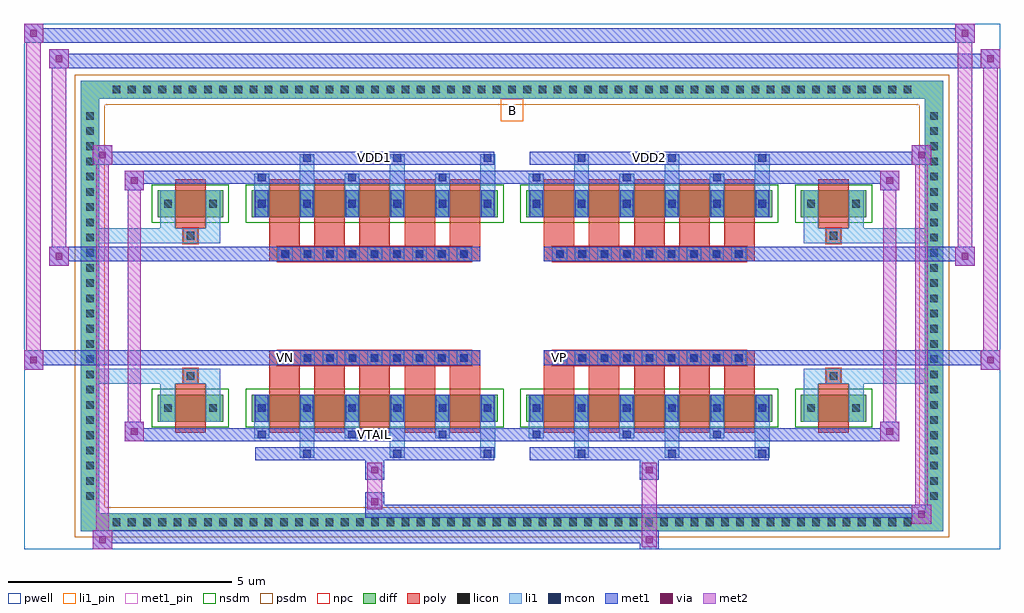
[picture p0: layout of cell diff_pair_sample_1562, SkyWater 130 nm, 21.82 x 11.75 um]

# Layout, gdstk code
import gdstk
lib = gdstk.Library(unit=1e-6, precision=5e-09)
def R(c, l, rs):  # rectangles x0, y0, x1, y1
    for r in rs: c.add(gdstk.rectangle(r[:2], r[2:], *l))
def A(c, l, x, y, w, h, nx, ny, dx, dy):  # array of equal rectangles
    R(c, l, [(x+i*dx, y+j*dy, x+i*dx+w, y+j*dy+h) for i in range(nx) for j in range(ny)])
def P(c, l, *ps):  # polygons
    for p in ps: c.add(gdstk.Polygon(p, *l))
pwell = (64, 44)
diff = (65, 20)
poly = (66, 20)
licon = (66, 44)
li1_pin = (67, 16)
li1 = (67, 20)
mcon = (67, 44)
met1_pin = (68, 16)
met1 = (68, 20)
via = (68, 44)
met2 = (69, 20)
nsdm = (93, 44)
psdm = (94, 20)
npc = (95, 20)

diff_pair_sample_1562 = lib.new_cell('diff_pair_sample_1562')
R(diff_pair_sample_1562, pwell, [(-10.91,-5.44,10.91,6.31), (-8.23,-3.63,-0.01,-0.795), (0.01,-3.63,8.23,-0.795), (-8.23,0.795,-0.01,3.63), (0.01,0.795,8.23,3.63)])
A(diff_pair_sample_1562, diff, -9.045, -5.04, 0.41, 0.41, 53, 2, 0.34, 9.67)
A(diff_pair_sample_1562, diff, -9.64, -4.455, 0.41, 0.41, 1, 26, 0, 0.34)
A(diff_pair_sample_1562, diff, 9.23, -4.455, 0.41, 0.41, 1, 26, 0, 0.34)
R(diff_pair_sample_1562, diff, [(-9.045,-5.04,9.045,-4.63), (-9.64,-4.455,-9.23,4.455), (9.23,-4.455,9.64,4.455), (-7.92,-2.585,-6.46,-1.985), (-5.82,-2.585,-0.32,-1.985), (0.32,-2.585,5.82,-1.985), (6.46,-2.585,7.92,-1.985), (-7.92,1.985,-6.46,2.585), (-5.82,1.985,-0.32,2.585), (0.32,1.985,5.82,2.585), (6.46,1.985,7.92,2.585), (-9.045,4.63,9.045,5.04)])
P(diff_pair_sample_1562, diff, [(9.64,5.04),(-9.64,5.04),(-9.64,-4.63),(-9.23,-4.63),(-9.23,4.63),(9.23,4.63),(9.23,-4.63),(-9.23,-4.63),(-9.64,-4.63),(-9.64,-5.04),(9.64,-5.04)])
A(diff_pair_sample_1562, poly, -5.43, -2.835, 0.68, 1.1, 5, 2, 1.01, 4.57)
A(diff_pair_sample_1562, poly, 0.71, -2.835, 0.68, 1.1, 5, 2, 1.01, 4.57)
A(diff_pair_sample_1562, poly, -5.43, -1.735, 0.68, 0.41, 5, 2, 1.01, 3.06)
A(diff_pair_sample_1562, poly, 0.71, -1.735, 0.68, 0.41, 5, 2, 1.01, 3.06)
A(diff_pair_sample_1562, poly, -5.235, -1.325, 0.33, 0.33, 9, 2, 0.5, 2.32)
A(diff_pair_sample_1562, poly, 0.905, -1.325, 0.33, 0.33, 9, 2, 0.5, 2.32)
R(diff_pair_sample_1562, poly, [(-7.53,-2.835,-6.85,-1.735), (6.85,-2.835,7.53,-1.735), (-7.355,-1.735,-7.025,-1.405), (-7.355,-1.735,-7.025,-1.405), (7.025,-1.735,7.355,-1.405), (7.025,-1.735,7.355,-1.405), (-5.43,-1.325,-0.71,-0.995), (0.71,-1.325,5.43,-0.995), (-5.43,0.995,-0.71,1.325), (0.71,0.995,5.43,1.325), (-7.355,1.405,-7.025,1.735), (-7.355,1.405,-7.025,1.735), (7.025,1.405,7.355,1.735), (7.025,1.405,7.355,1.735), (-7.53,1.735,-6.85,2.835), (6.85,1.735,7.53,2.835)])
A(diff_pair_sample_1562, licon, -8.925, -4.92, 0.17, 0.17, 53, 2, 0.34, 9.67)
A(diff_pair_sample_1562, licon, -9.52, -4.335, 0.17, 0.17, 1, 26, 0, 0.34)
A(diff_pair_sample_1562, licon, 9.35, -4.335, 0.17, 0.17, 1, 26, 0, 0.34)
A(diff_pair_sample_1562, licon, -5.68, -2.37, 0.17, 0.17, 6, 2, 1.01, 4.57)
A(diff_pair_sample_1562, licon, 0.46, -2.37, 0.17, 0.17, 6, 2, 1.01, 4.57)
A(diff_pair_sample_1562, licon, -5.155, -1.245, 0.17, 0.17, 9, 2, 0.5, 2.32)
A(diff_pair_sample_1562, licon, 0.985, -1.245, 0.17, 0.17, 9, 2, 0.5, 2.32)
R(diff_pair_sample_1562, licon, [(-7.78,-2.37,-7.61,-2.2), (-6.77,-2.37,-6.6,-2.2), (6.6,-2.37,6.77,-2.2), (7.61,-2.37,7.78,-2.2), (-7.275,-1.655,-7.105,-1.485), (7.105,-1.655,7.275,-1.485), (-7.275,1.485,-7.105,1.655), (7.105,1.485,7.275,1.655), (-7.78,2.2,-7.61,2.37), (-6.77,2.2,-6.6,2.37), (6.6,2.2,6.77,2.37), (7.61,2.2,7.78,2.37)])
R(diff_pair_sample_1562, li1_pin, [(-0.25,4.13,0.25,4.63)])
A(diff_pair_sample_1562, li1, -9.005, -5, 0.33, 0.33, 53, 2, 0.34, 9.67)
A(diff_pair_sample_1562, li1, -9.6, -4.415, 0.33, 0.33, 1, 26, 0, 0.34)
A(diff_pair_sample_1562, li1, 9.27, -4.415, 0.33, 0.33, 1, 26, 0, 0.34)
A(diff_pair_sample_1562, li1, -4.75, -3.39, 0.33, 0.805, 3, 2, 2.02, 5.975)
A(diff_pair_sample_1562, li1, -4.67, -3.39, 0.17, 0.17, 3, 2, 2.02, 6.61)
A(diff_pair_sample_1562, li1, 1.39, -3.39, 0.33, 0.805, 3, 2, 2.02, 5.975)
A(diff_pair_sample_1562, li1, 1.47, -3.39, 0.17, 0.17, 3, 2, 2.02, 6.61)
A(diff_pair_sample_1562, li1, -5.76, -2.96, 0.33, 0.375, 3, 2, 2.02, 5.545)
A(diff_pair_sample_1562, li1, -5.68, -2.96, 0.17, 0.17, 3, 2, 2.02, 5.75)
A(diff_pair_sample_1562, li1, 0.38, -2.96, 0.33, 0.375, 3, 2, 2.02, 5.545)
A(diff_pair_sample_1562, li1, 0.46, -2.96, 0.17, 0.17, 3, 2, 2.02, 5.75)
A(diff_pair_sample_1562, li1, -5.76, -2.585, 0.33, 0.6, 6, 2, 1.01, 4.57)
A(diff_pair_sample_1562, li1, 0.38, -2.585, 0.33, 0.6, 6, 2, 1.01, 4.57)
A(diff_pair_sample_1562, li1, -5.76, -2.45, 0.33, 0.33, 6, 2, 1.01, 4.57)
A(diff_pair_sample_1562, li1, 0.38, -2.45, 0.33, 0.33, 6, 2, 1.01, 4.57)
A(diff_pair_sample_1562, li1, -5.235, -1.325, 0.33, 0.33, 9, 2, 0.5, 2.32)
A(diff_pair_sample_1562, li1, 0.905, -1.325, 0.33, 0.33, 9, 2, 0.5, 2.32)
R(diff_pair_sample_1562, li1, [(-9.64,-5.04,-9.23,-4.63), (-9.64,-5.04,-9.23,-4.63), (-9.23,-5.04,9.23,-4.63), (9.23,-5.04,9.64,-4.63), (9.23,-5.04,9.64,-4.63), (-9.64,-4.63,-9.23,4.63), (9.23,-4.63,9.64,4.63), (-7.86,-2.585,-7.53,-1.985), (-6.85,-2.585,-6.52,-1.985), (6.52,-2.585,6.85,-1.985), (7.53,-2.585,7.86,-1.985), (-7.86,-2.45,-7.53,-2.12), (-6.85,-2.45,-6.52,-2.12), (6.52,-2.45,6.85,-2.12), (7.53,-2.45,7.86,-2.12), (-5.68,-2.37,-5.51,-2.2), (-5.68,-2.37,-5.51,-2.2), (-4.67,-2.37,-4.5,-2.2), (-4.67,-2.37,-4.5,-2.2), (-3.66,-2.37,-3.49,-2.2), (-3.66,-2.37,-3.49,-2.2), (-2.65,-2.37,-2.48,-2.2), (-2.65,-2.37,-2.48,-2.2), (-1.64,-2.37,-1.47,-2.2), (-1.64,-2.37,-1.47,-2.2), (-0.63,-2.37,-0.46,-2.2), (-0.63,-2.37,-0.46,-2.2), (0.46,-2.37,0.63,-2.2), (0.46,-2.37,0.63,-2.2), (1.47,-2.37,1.64,-2.2), (1.47,-2.37,1.64,-2.2), (2.48,-2.37,2.65,-2.2), (2.48,-2.37,2.65,-2.2), (3.49,-2.37,3.66,-2.2), (3.49,-2.37,3.66,-2.2), (4.5,-2.37,4.67,-2.2), (4.5,-2.37,4.67,-2.2), (5.51,-2.37,5.68,-2.2), (5.51,-2.37,5.68,-2.2), (-7.86,-1.985,-7.53,-1.405), (-6.85,-1.985,-6.52,-1.405), (6.52,-1.985,6.85,-1.405), (7.53,-1.985,7.86,-1.405), (-9.64,-1.735,-7.355,-1.405), (-7.86,-1.735,-7.355,-1.405), (-7.355,-1.735,-7.025,-1.405), (-7.025,-1.735,-6.52,-1.405), (6.52,-1.735,7.025,-1.405), (7.025,-1.735,7.355,-1.405), (7.025,-1.735,9.64,-1.405), (7.355,-1.735,7.86,-1.405), (-9.64,1.405,-7.355,1.735), (-7.86,1.405,-7.355,1.735), (-7.86,1.405,-7.53,1.985), (-7.355,1.405,-7.025,1.735), (-7.025,1.405,-6.52,1.735), (-6.85,1.405,-6.52,1.985), (6.52,1.405,7.025,1.735), (6.52,1.405,6.85,1.985), (7.025,1.405,7.355,1.735), (7.025,1.405,9.64,1.735), (7.355,1.405,7.86,1.735), (7.53,1.405,7.86,1.985), (-7.86,1.985,-7.53,2.585), (-6.85,1.985,-6.52,2.585), (6.52,1.985,6.85,2.585), (7.53,1.985,7.86,2.585), (-7.86,2.12,-7.53,2.45), (-6.85,2.12,-6.52,2.45), (6.52,2.12,6.85,2.45), (7.53,2.12,7.86,2.45), (-5.68,2.2,-5.51,2.37), (-5.68,2.2,-5.51,2.37), (-4.67,2.2,-4.5,2.37), (-4.67,2.2,-4.5,2.37), (-3.66,2.2,-3.49,2.37), (-3.66,2.2,-3.49,2.37), (-2.65,2.2,-2.48,2.37), (-2.65,2.2,-2.48,2.37), (-1.64,2.2,-1.47,2.37), (-1.64,2.2,-1.47,2.37), (-0.63,2.2,-0.46,2.37), (-0.63,2.2,-0.46,2.37), (0.46,2.2,0.63,2.37), (0.46,2.2,0.63,2.37), (1.47,2.2,1.64,2.37), (1.47,2.2,1.64,2.37), (2.48,2.2,2.65,2.37), (2.48,2.2,2.65,2.37), (3.49,2.2,3.66,2.37), (3.49,2.2,3.66,2.37), (4.5,2.2,4.67,2.37), (4.5,2.2,4.67,2.37), (5.51,2.2,5.68,2.37), (5.51,2.2,5.68,2.37), (-9.64,4.63,-9.23,5.04), (-9.64,4.63,-9.23,5.04), (-9.23,4.63,9.23,5.04), (9.23,4.63,9.64,5.04), (9.23,4.63,9.64,5.04)])
A(diff_pair_sample_1562, mcon, -4.67, -3.39, 0.17, 0.17, 3, 2, 2.02, 6.61)
A(diff_pair_sample_1562, mcon, 1.47, -3.39, 0.17, 0.17, 3, 2, 2.02, 6.61)
A(diff_pair_sample_1562, mcon, -5.68, -2.96, 0.17, 0.17, 3, 2, 2.02, 5.75)
A(diff_pair_sample_1562, mcon, 0.46, -2.96, 0.17, 0.17, 3, 2, 2.02, 5.75)
A(diff_pair_sample_1562, mcon, -5.68, -2.37, 0.17, 0.17, 6, 2, 1.01, 4.57)
A(diff_pair_sample_1562, mcon, 0.46, -2.37, 0.17, 0.17, 6, 2, 1.01, 4.57)
A(diff_pair_sample_1562, mcon, -5.155, -1.245, 0.17, 0.17, 9, 2, 0.5, 2.32)
A(diff_pair_sample_1562, mcon, 0.985, -1.245, 0.17, 0.17, 9, 2, 0.5, 2.32)
R(diff_pair_sample_1562, met1_pin, [(-3.205,-3,-2.935,-2.73), (-5.205,-1.285,-4.935,-1.015), (0.935,-1.285,1.205,-1.015), (-3.205,3.18,-2.935,3.45), (2.935,3.18,3.205,3.45)])
A(diff_pair_sample_1562, met1, -4.73, -3.45, 0.29, 0.29, 3, 2, 2.02, 6.61)
A(diff_pair_sample_1562, met1, 1.41, -3.45, 0.29, 0.29, 3, 2, 2.02, 6.61)
A(diff_pair_sample_1562, met1, -5.74, -3.02, 0.29, 0.29, 3, 2, 2.02, 5.75)
A(diff_pair_sample_1562, met1, 0.4, -3.02, 0.29, 0.29, 3, 2, 2.02, 5.75)
A(diff_pair_sample_1562, met1, -5.74, -2.585, 0.29, 0.6, 6, 2, 1.01, 4.57)
A(diff_pair_sample_1562, met1, 0.4, -2.585, 0.29, 0.6, 6, 2, 1.01, 4.57)
A(diff_pair_sample_1562, met1, -5.74, -2.43, 0.29, 0.29, 6, 2, 1.01, 4.57)
A(diff_pair_sample_1562, met1, 0.4, -2.43, 0.29, 0.29, 6, 2, 1.01, 4.57)
A(diff_pair_sample_1562, met1, -5.215, -1.305, 0.29, 0.29, 9, 2, 0.5, 2.32)
A(diff_pair_sample_1562, met1, 0.925, -1.305, 0.29, 0.29, 9, 2, 0.5, 2.32)
R(diff_pair_sample_1562, met1, [(-9.37,-5.44,-8.94,-5.01), (2.855,-5.44,3.285,-5.01), (-9.37,-5.3,3.285,-5.01), (8.94,-4.87,9.37,-4.44), (-3.285,-4.73,9.37,-4.44), (-3.285,-4.59,-2.855,-4.16), (-3.285,-3.88,-2.855,-3.45), (2.855,-3.88,3.285,-3.45), (-5.74,-3.45,-0.4,-3.16), (0.4,-3.45,5.74,-3.16), (-8.66,-3.02,-8.23,-2.59), (-8.66,-3.02,-5.74,-2.73), (-5.74,-3.02,-0.4,-2.73), (-0.4,-3.02,0.4,-2.73), (0.4,-3.02,5.74,-2.73), (5.74,-3.02,8.66,-2.73), (8.23,-3.02,8.66,-2.59), (-10.91,-1.425,-10.48,-0.995), (10.48,-1.425,10.91,-0.995), (-10.91,-1.325,-0.71,-0.995), (-5.43,-1.325,-0.71,-0.995), (0.71,-1.325,5.43,-0.995), (0.71,-1.325,10.91,-0.995), (-10.34,0.895,-9.91,1.325), (9.91,0.895,10.34,1.325), (-10.34,0.995,-5.43,1.325), (-5.43,0.995,-0.71,1.325), (0.71,0.995,5.43,1.325), (5.43,0.995,10.34,1.325), (-8.66,2.59,-8.23,3.02), (8.23,2.59,8.66,3.02), (-8.66,2.73,-5.74,3.02), (-5.74,2.73,-0.4,3.02), (-0.4,2.73,0.4,3.02), (0.4,2.73,5.74,3.02), (5.74,2.73,8.66,3.02), (-9.37,3.16,-8.94,3.59), (-9.37,3.16,-5.74,3.45), (-5.74,3.16,-0.4,3.45), (0.4,3.16,5.74,3.45), (5.74,3.16,9.37,3.45), (8.94,3.16,9.37,3.59), (-10.34,5.31,-9.91,5.74), (-10.34,5.31,-8.23,5.64), (-8.23,5.31,8.23,5.64), (8.23,5.31,10.91,5.64), (10.48,5.31,10.91,5.74), (-10.91,5.88,-10.48,6.31), (-10.91,5.88,-8.23,6.21), (-8.23,5.88,8.23,6.21), (8.23,5.88,10.34,6.21), (9.91,5.88,10.34,6.31)])
R(diff_pair_sample_1562, via, [(-9.23,-5.3,-9.08,-5.15), (2.995,-5.3,3.145,-5.15), (9.08,-4.73,9.23,-4.58), (-3.145,-4.45,-2.995,-4.3), (-3.145,-3.74,-2.995,-3.59), (2.995,-3.74,3.145,-3.59), (-8.52,-2.88,-8.37,-2.73), (8.37,-2.88,8.52,-2.73), (-10.77,-1.285,-10.62,-1.135), (10.62,-1.285,10.77,-1.135), (-10.2,1.035,-10.05,1.185), (10.05,1.035,10.2,1.185), (-8.52,2.73,-8.37,2.88), (8.37,2.73,8.52,2.88), (-9.23,3.3,-9.08,3.45), (9.08,3.3,9.23,3.45), (-10.2,5.45,-10.05,5.6), (10.62,5.45,10.77,5.6), (-10.77,6.02,-10.62,6.17), (10.05,6.02,10.2,6.17)])
R(diff_pair_sample_1562, met2, [(-9.37,-5.44,-8.94,-5.01), (-9.3,-5.44,-9.01,3.59), (-9.01,-5.44,-8.94,-5.01), (-9.32,-5.39,-8.99,-5.06), (2.905,-5.39,3.235,-5.06), (2.905,-5.06,3.235,-3.83), (8.94,-4.87,9.37,-4.44), (9.01,-4.87,9.3,3.59), (9.3,-4.87,9.37,-4.44), (8.99,-4.82,9.32,-4.49), (-3.235,-4.54,-2.905,-4.21), (-3.235,-4.21,-2.905,-3.83), (-3.235,-3.83,-2.905,-3.5), (2.905,-3.83,3.235,-3.5), (-8.66,-3.02,-8.23,-2.59), (-8.59,-3.02,-8.3,3.02), (-8.3,-3.02,-8.23,-2.59), (8.23,-3.02,8.66,-2.59), (8.3,-3.02,8.59,3.02), (8.59,-3.02,8.66,-2.59), (-8.61,-2.97,-8.28,-2.64), (8.28,-2.97,8.61,-2.64), (-10.91,-1.425,-10.48,-0.995), (-10.86,-1.425,-10.53,6.31), (-10.53,-1.425,-10.48,-0.995), (10.48,-1.425,10.91,-0.995), (10.53,-1.425,10.86,5.74), (10.86,-1.425,10.91,-0.995), (-10.86,-1.375,-10.53,-1.045), (10.53,-1.375,10.86,-1.045), (-10.34,0.895,-9.91,1.325), (-10.29,0.895,-9.96,5.74), (-9.96,0.895,-9.91,1.325), (9.91,0.895,10.34,1.325), (9.96,0.895,10.29,6.31), (10.29,0.895,10.34,1.325), (-10.29,0.945,-9.96,1.275), (9.96,0.945,10.29,1.275), (-8.66,2.59,-8.23,3.02), (-8.3,2.59,-8.23,3.02), (8.23,2.59,8.66,3.02), (8.59,2.59,8.66,3.02), (-8.61,2.64,-8.28,2.97), (8.28,2.64,8.61,2.97), (-9.37,3.16,-8.94,3.59), (-9.01,3.16,-8.94,3.59), (8.94,3.16,9.37,3.59), (9.3,3.16,9.37,3.59), (-9.32,3.21,-8.99,3.54), (8.99,3.21,9.32,3.54), (-10.34,5.31,-9.91,5.74), (-9.96,5.31,-9.91,5.74), (10.48,5.31,10.91,5.74), (10.86,5.31,10.91,5.74), (-10.29,5.36,-9.96,5.69), (10.53,5.36,10.86,5.69), (-10.91,5.88,-10.48,6.31), (-10.53,5.88,-10.48,6.31), (9.91,5.88,10.34,6.31), (10.29,5.88,10.34,6.31), (-10.86,5.93,-10.53,6.26), (9.96,5.93,10.29,6.26)])
R(diff_pair_sample_1562, nsdm, [(-8.05,-2.715,-6.33,-1.855), (-5.95,-2.715,-0.19,-1.855), (0.19,-2.715,5.95,-1.855), (6.33,-2.715,8.05,-1.855), (-8.05,1.855,-6.33,2.715), (-5.95,1.855,-0.19,2.715), (0.19,1.855,5.95,2.715), (6.33,1.855,8.05,2.715)])
P(diff_pair_sample_1562, psdm, [(9.77,5.17),(-9.77,5.17),(-9.77,-4.5),(-9.1,-4.5),(-9.1,4.5),(9.1,4.5),(9.1,-4.5),(-9.1,-4.5),(-9.77,-4.5),(-9.77,-5.17),(9.77,-5.17)])
A(diff_pair_sample_1562, npc, -5.255, -1.345, 0.37, 0.37, 9, 2, 0.5, 2.32)
A(diff_pair_sample_1562, npc, 0.885, -1.345, 0.37, 0.37, 9, 2, 0.5, 2.32)
R(diff_pair_sample_1562, npc, [(-7.375,-1.755,-7.005,-1.385), (7.005,-1.755,7.375,-1.385), (-5.255,-1.345,-4.385,-0.975), (-5.255,-1.345,-4.385,-0.975), (-4.755,-1.345,-3.885,-0.975), (-4.755,-1.345,-3.885,-0.975), (-4.255,-1.345,-3.385,-0.975), (-4.255,-1.345,-3.385,-0.975), (-3.755,-1.345,-2.885,-0.975), (-3.755,-1.345,-2.885,-0.975), (-3.255,-1.345,-2.385,-0.975), (-3.255,-1.345,-2.385,-0.975), (-2.755,-1.345,-1.885,-0.975), (-2.755,-1.345,-1.885,-0.975), (-2.255,-1.345,-1.385,-0.975), (-2.255,-1.345,-1.385,-0.975), (-1.755,-1.345,-0.885,-0.975), (-1.755,-1.345,-0.885,-0.975), (0.885,-1.345,1.755,-0.975), (0.885,-1.345,1.755,-0.975), (1.385,-1.345,2.255,-0.975), (1.385,-1.345,2.255,-0.975), (1.885,-1.345,2.755,-0.975), (1.885,-1.345,2.755,-0.975), (2.385,-1.345,3.255,-0.975), (2.385,-1.345,3.255,-0.975), (2.885,-1.345,3.755,-0.975), (2.885,-1.345,3.755,-0.975), (3.385,-1.345,4.255,-0.975), (3.385,-1.345,4.255,-0.975), (3.885,-1.345,4.755,-0.975), (3.885,-1.345,4.755,-0.975), (4.385,-1.345,5.255,-0.975), (4.385,-1.345,5.255,-0.975), (-5.255,0.975,-4.385,1.345), (-5.255,0.975,-4.385,1.345), (-4.755,0.975,-3.885,1.345), (-4.755,0.975,-3.885,1.345), (-4.255,0.975,-3.385,1.345), (-4.255,0.975,-3.385,1.345), (-3.755,0.975,-2.885,1.345), (-3.755,0.975,-2.885,1.345), (-3.255,0.975,-2.385,1.345), (-3.255,0.975,-2.385,1.345), (-2.755,0.975,-1.885,1.345), (-2.755,0.975,-1.885,1.345), (-2.255,0.975,-1.385,1.345), (-2.255,0.975,-1.385,1.345), (-1.755,0.975,-0.885,1.345), (-1.755,0.975,-0.885,1.345), (0.885,0.975,1.755,1.345), (0.885,0.975,1.755,1.345), (1.385,0.975,2.255,1.345), (1.385,0.975,2.255,1.345), (1.885,0.975,2.755,1.345), (1.885,0.975,2.755,1.345), (2.385,0.975,3.255,1.345), (2.385,0.975,3.255,1.345), (2.885,0.975,3.755,1.345), (2.885,0.975,3.755,1.345), (3.385,0.975,4.255,1.345), (3.385,0.975,4.255,1.345), (3.885,0.975,4.755,1.345), (3.885,0.975,4.755,1.345), (4.385,0.975,5.255,1.345), (4.385,0.975,5.255,1.345), (-7.375,1.385,-7.005,1.755), (7.005,1.385,7.375,1.755)])
diff_pair_sample_1562.add(gdstk.Label('VTAIL', (-3.07,-2.865), layer=68, texttype=5))
diff_pair_sample_1562.add(gdstk.Label('VN', (-5.07,-1.15), layer=68, texttype=5))
diff_pair_sample_1562.add(gdstk.Label('VP', (1.07,-1.15), layer=68, texttype=5))
diff_pair_sample_1562.add(gdstk.Label('B', (0,4.38), layer=67, texttype=5))
diff_pair_sample_1562.add(gdstk.Label('VDD2', (3.07,3.315), layer=68, texttype=5))
diff_pair_sample_1562.add(gdstk.Label('VDD1', (-3.07,3.315), layer=68, texttype=5))

lib.write_gds('diff_pair_sample_1562.gds')
